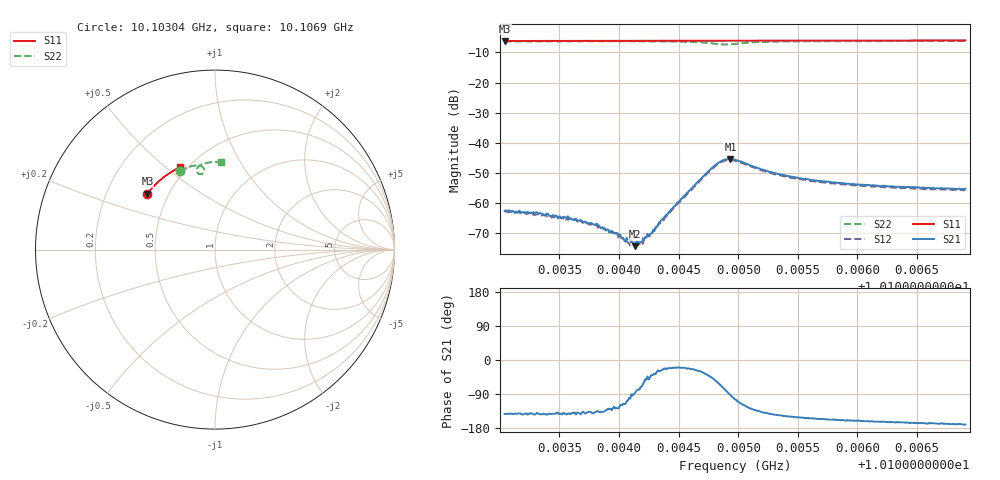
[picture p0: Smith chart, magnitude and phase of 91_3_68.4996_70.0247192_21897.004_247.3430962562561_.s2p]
#  HZ  S  RI  R  50.00
! Rohde & Schwarz Vector Network Analyzer
! Rohde-Schwarz,ZNB20-2Port,1311601062101988,3.16
! Created: UTC 3/20/2024, 4:52:40 PM
! freq[Hz]  re:S11  im:S11  re:S21  im:S21  re:S12  im:S12  re:S22  im:S22
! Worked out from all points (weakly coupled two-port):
!   401 points, 10.10304 GHz to 10.1069 GHz, reference 50 ohm
!   highest |S21| = -45.40 dB at 10.10493 GHz (marker M1); lowest = -74.3 dB at 10.10413 GHz (marker M2)
!   lowest |S11| = -6.2 dB at 10.10304 GHz (marker M3), VSWR 2.91, Z = 19.1 + j15.6 ohm
!   |S11| at or under -10 dB: nowhere
!   |S22| runs from -7.4 to -6.2 dB; largest |S21 - S12| = 0.00058
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1.010304e10  -0.3763 0.3115  -0.000591 -0.000454  -0.000538 -0.000492  -0.1957 0.4393
1.010332e10  -0.3657 0.3251  -0.000536 -0.000429  -0.00048 -0.000437  -0.1785 0.4473
1.010362e10  -0.354 0.3391  -0.000409 -0.000332  -0.000382 -0.000365  -0.1595 0.4551
1.0103688e10  -0.3512 0.3419  -0.000385 -0.000327  -0.000344 -0.000346  -0.1552 0.4567
1.0103813e10  -0.346 0.3477  -0.000322 -0.000326  -0.000285 -0.000314  -0.1466 0.4596
1.0103968e10  -0.3399 0.3546  -0.000192 -0.000246  -0.000143 -0.000265  -0.1359 0.463
1.0104035e10  -0.3369 0.3576  -0.000114 -0.00024  -9.71e-05 -0.000241  -0.1309 0.4645
1.0104074e10  -0.3352 0.3594  -7.43e-05 -0.000241  -1.57e-05 -0.000222  -0.128 0.4652
1.0104132e10  -0.3328 0.3619  6.65e-06 -0.000194  1.62e-05 -0.000221  -0.1236 0.4662
1.010418e10  -0.3307 0.3638  7.14e-05 -0.000214  0.000122 -0.00021  -0.1198 0.467
1.0104209e10  -0.3293 0.3651  0.000128 -0.00021  0.000171 -0.000189  -0.1174 0.4674
1.0104277e10  -0.3264 0.368  0.000242 -0.000204  0.000255 -0.000189  -0.1117 0.4683
1.0104335e10  -0.3239 0.3705  0.000407 -0.000233  0.000433 -0.0002  -0.1068 0.4689
1.0104499e10  -0.3166 0.3773  0.000997 -0.000351  0.000975 -0.000266  -0.0904 0.4689
1.0104779e10  -0.3036 0.3883  0.00265 -0.0028  0.00274 -0.00246  -0.0599 0.442
1.0104866e10  -0.2998 0.3916  0.00163 -0.00479  0.00199 -0.00443  -0.0697 0.4227
1.0104934e10  -0.2967 0.3941  -0.000239 -0.00536  0.000246 -0.00515  -0.088 0.4211
1.0104973e10  -0.295 0.3957  -0.00124 -0.00511  -0.000779 -0.005  -0.0961 0.4268
1.0105301e10  -0.2793 0.408  -0.00256 -0.00185  -0.00227 -0.00198  -0.0835 0.4695
1.010562e10  -0.2637 0.4194  -0.00216 -0.00107  -0.00199 -0.0012  -0.0573 0.4805
1.0106267e10  -0.2304 0.4403  -0.00183 -0.000514  -0.00171 -0.000684  -0.011 0.4878
1.0106905e10  -0.1962 0.4581  -0.0017 -0.000292  -0.00156 -0.000455  0.0314 0.489
